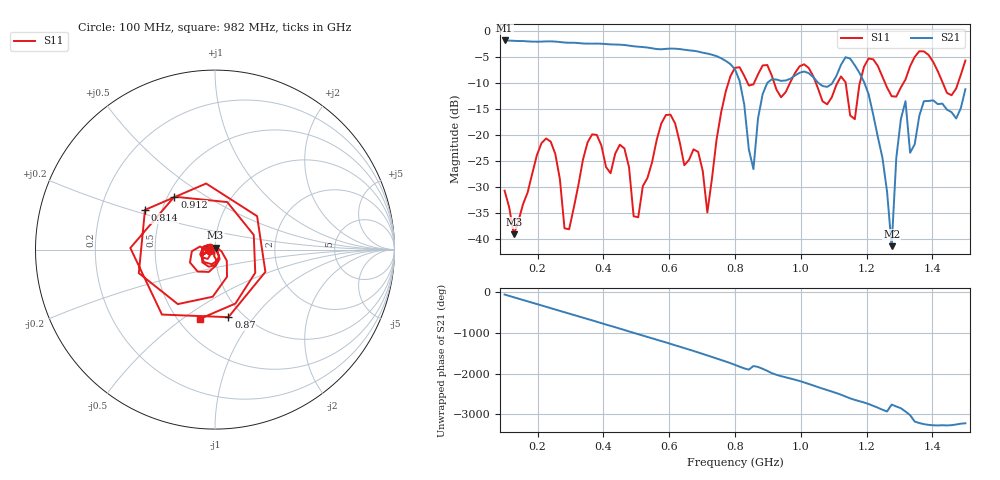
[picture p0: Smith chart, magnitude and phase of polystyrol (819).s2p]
! NanoVNA-App
! Date: 2025-09-25 15:36:15
! Start: 100MHz Stop: 1,5GHz Points: 101
! S-Parameter data: F S11 S21 S12 S22
# Hz S RI R 50
!  Frequency  S11_Real  S11_Imag  S21_Real  S21_Imag  S12_Real  S12_Imag  S22_Real  S22_Imag
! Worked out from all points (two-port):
!   101 points, 100 MHz to 1.5 GHz, reference 50 ohm
!   highest |S21| = -1.80 dB at 100 MHz (marker M1); lowest = -41.4 dB at 1.276 GHz (marker M2)
!   |S21| within 3 dB of the highest: start of sweep to 742.9 MHz
!   lowest |S11| = -39.1 dB at 128 MHz (marker M3), VSWR 1.02, Z = 50.3 + j1.06 ohm
!   |S11| at or under -10 dB: start of sweep to 779.7 MHz; 1.046 GHz to 1.111 GHz (65.12 MHz wide, 6.04 % of centre); 1.256 GHz to 1.312 GHz (55.55 MHz wide, 4.33 % of centre) (the widest 3 of 7)
!   S12 and S22 are empty: the file has one direction only
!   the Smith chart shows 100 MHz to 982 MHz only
!   S11 on the Smith chart (normalised r, x): 100 MHz: 0.94, -0.01; 814 MHz: 0.40, +0.22; 870 MHz: 0.85, -0.75; 912 MHz: 0.54, +0.37; 982 MHz: 0.64, -0.58
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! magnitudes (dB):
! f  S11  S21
! 100 MHz  -30.7  -1.8
! 128 MHz  -39.1  -1.9
! 212 MHz  -21.6  -2.0
! 282 MHz  -38.0  -2.2
! 338 MHz  -24.8  -2.4
! 464 MHz  -22.6  -2.7
! 506 MHz  -35.8  -3.0
! 576 MHz  -17.8  -3.5
! 716 MHz  -34.9  -4.3
! 800 MHz  -7.0  -7.4
! 814 MHz  -7.0  -9.6
! 856 MHz  -10.3  -26.6
! 870 MHz  -8.3  -16.8
! 912 MHz  -8.6  -9.3
! 982 MHz  -8.1  -8.6
! 1.038 GHz  -8.7  -8.9
! 1.164 GHz  -17.0  -6.6
! 1.192 GHz  -6.9  -9.8
! 1.276 GHz  -12.5  -41.4
! 1.318 GHz  -9.3  -13.5
! 1.332 GHz  -6.8  -23.4
! 1.5 GHz  -5.7  -11.2
